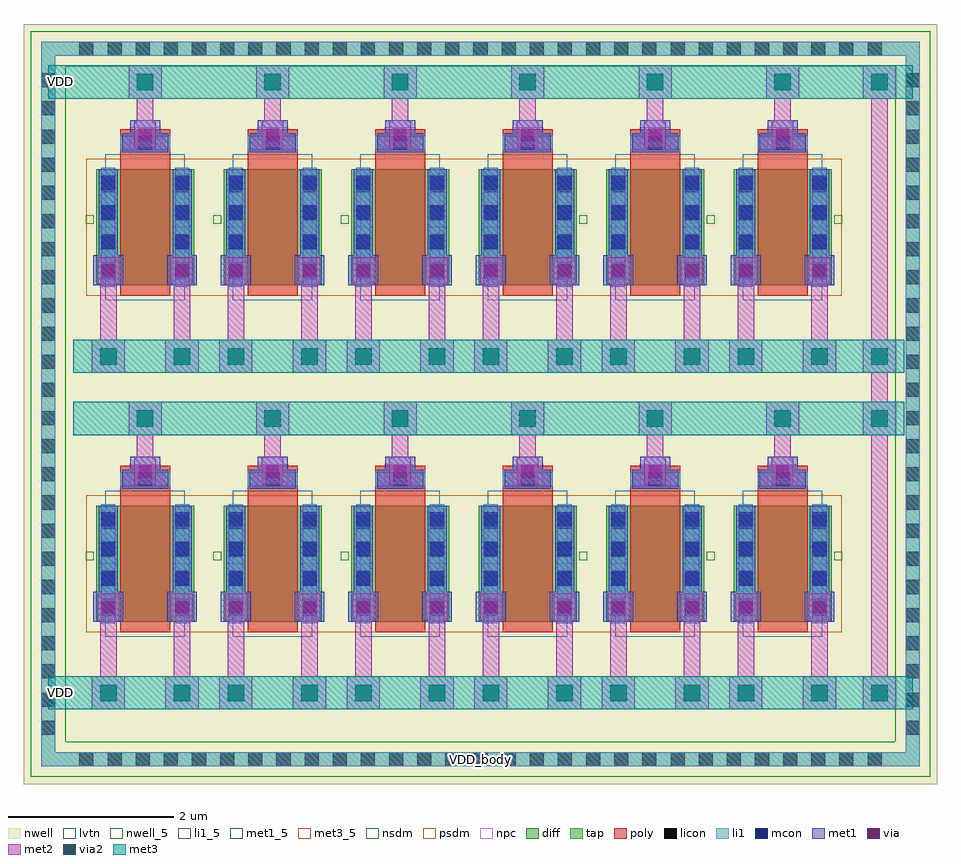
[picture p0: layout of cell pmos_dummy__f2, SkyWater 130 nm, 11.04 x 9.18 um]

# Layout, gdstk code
from math import pi, radians
import gdstk
lib = gdstk.Library(unit=1e-6, precision=1e-09)
def R(c, l, rs):  # rectangles x0, y0, x1, y1
    for r in rs: c.add(gdstk.rectangle(r[:2], r[2:], *l))
def A(c, l, x, y, w, h, nx, ny, dx, dy):  # array of equal rectangles
    R(c, l, [(x+i*dx, y+j*dy, x+i*dx+w, y+j*dy+h) for i in range(nx) for j in range(ny)])
nwell_5 = (64, 5)
nwell = (64, 20)
diff = (65, 20)
tap = (65, 44)
poly = (66, 20)
licon = (66, 44)
li1_5 = (67, 5)
li1 = (67, 20)
mcon = (67, 44)
met1_5 = (68, 5)
met1 = (68, 20)
via = (68, 44)
met2 = (69, 20)
via2 = (69, 44)
met3_5 = (70, 5)
met3 = (70, 20)
nsdm = (93, 44)
psdm = (94, 20)
npc = (95, 20)
lvtn = (125, 44)

sky130_fd_pr__pfet_01v8_ = lib.new_cell('sky130_fd_pr__pfet_01v8_lvt_L7GY3J')
R(sky130_fd_pr__pfet_01v8_, nwell, [(-0.77,-1.19,0.77,1.02)])
R(sky130_fd_pr__pfet_01v8_, diff, [(-0.59,-0.88,0.59,0.52)])
R(sky130_fd_pr__pfet_01v8_, poly, [(-0.3,-1.01,0.3,1.005)])
A(sky130_fd_pr__pfet_01v8_, licon, -0.53, -0.775, 0.17, 0.17, 1, 4, 0, 0.34)
A(sky130_fd_pr__pfet_01v8_, licon, 0.36, -0.775, 0.17, 0.17, 1, 4, 0, 0.34)
R(sky130_fd_pr__pfet_01v8_, licon, [(-0.085,0.755,0.085,0.925)])
R(sky130_fd_pr__pfet_01v8_, li1, [(-0.53,-0.9,-0.36,0.54), (0.36,-0.9,0.53,0.54), (-0.3,0.755,0.3,0.925)])
A(sky130_fd_pr__pfet_01v8_, mcon, -0.53, -0.805, 0.17, 0.17, 1, 4, 0, 0.36)
A(sky130_fd_pr__pfet_01v8_, mcon, 0.36, -0.805, 0.17, 0.17, 1, 4, 0, 0.36)
R(sky130_fd_pr__pfet_01v8_, mcon, [(-0.085,0.755,0.085,0.925)])
R(sky130_fd_pr__pfet_01v8_, met1, [(-0.56,-0.88,-0.33,0.52), (0.33,-0.88,0.56,0.52), (-0.28,0.725,0.28,0.955)])
R(sky130_fd_pr__pfet_01v8_, psdm, [(-0.715,-1.005,0.715,0.645)])
R(sky130_fd_pr__pfet_01v8_, npc, [(-0.185,0.655,0.185,1.025)])
R(sky130_fd_pr__pfet_01v8_, lvtn, [(-0.48,-1.06,0.48,0.7)])
sky130_fd_pr__pfet_01v8_.add(gdstk.Label('D', (-0.445,-0.18), layer=67, texttype=5))
sky130_fd_pr__pfet_01v8_.add(gdstk.Label('S', (0.445,-0.18), layer=67, texttype=5))
sky130_fd_pr__pfet_01v8_.add(gdstk.Label('G', (0,0.84), layer=67, texttype=5))

pfet_01v8_lvt_w1p4_l0p6_ = lib.new_cell('pfet_01v8_lvt_W1p4_L0p6_m8__nf1_gtop_sdfull_ng')
R(pfet_01v8_lvt_w1p4_l0p6_, nwell_5, [(0.05,1.055,0.15,1.155)])
R(pfet_01v8_lvt_w1p4_l0p6_, nwell, [(0.05,1.055,0.15,1.155)])
R(pfet_01v8_lvt_w1p4_l0p6_, met1_5, [(0.21,1.01,0.44,1.21), (1.1,1.01,1.33,1.21), (0.49,1.915,1.05,2.145)])
R(pfet_01v8_lvt_w1p4_l0p6_, met1, [(0.21,1.01,0.44,1.21), (1.1,1.01,1.33,1.21), (0.49,1.915,1.05,2.145)])
pfet_01v8_lvt_w1p4_l0p6_.add(gdstk.Reference(sky130_fd_pr__pfet_01v8_, (0.77,1.19)))
pfet_01v8_lvt_w1p4_l0p6_.add(gdstk.Label('D', (0.325,1.11), layer=68, texttype=5))
pfet_01v8_lvt_w1p4_l0p6_.add(gdstk.Label('S', (1.215,1.11), layer=68, texttype=5))
pfet_01v8_lvt_w1p4_l0p6_.add(gdstk.Label('G', (0.77,2.03), layer=68, texttype=5))
pfet_01v8_lvt_w1p4_l0p6_.add(gdstk.Label('B', (0.1,1.105), layer=64, texttype=5))

pmos_dummy__f2 = lib.new_cell('pmos_dummy__f2')
R(pmos_dummy__f2, nwell, [(-0.7,-1.65,10.34,7.53)])
R(pmos_dummy__f2, tap, [(-0.485,-1.435,10.125,-1.265), (-0.485,-1.265,-0.315,7.145), (9.955,-1.265,10.125,7.145), (-0.485,7.145,10.125,7.315)])
A(pmos_dummy__f2, licon, -0.025, -1.435, 0.17, 0.17, 29, 2, 0.34, 8.58)
A(pmos_dummy__f2, licon, -0.485, -1.055, 0.17, 0.17, 1, 24, 0, 0.34)
A(pmos_dummy__f2, licon, 9.955, -1.055, 0.17, 0.17, 1, 24, 0, 0.34)
R(pmos_dummy__f2, li1_5, [(4.77,-1.4,4.87,-1.3)])
R(pmos_dummy__f2, li1, [(-0.485,-1.435,10.125,-1.265), (-0.485,-1.265,-0.315,7.145), (9.955,-1.265,10.125,7.145), (-0.485,7.145,10.125,7.315)])
A(pmos_dummy__f2, met1, 0.59, 1.945, 0.36, 0.36, 6, 2, 1.54, 4.065)
R(pmos_dummy__f2, met1, [(0.145,0.31,0.505,0.67), (1.035,0.31,1.395,0.67), (1.685,0.31,2.045,0.67), (2.575,0.31,2.935,0.67), (3.225,0.31,3.585,0.67), (4.115,0.31,4.475,0.67), (4.765,0.31,5.125,0.67), (5.655,0.31,6.015,0.67), (6.305,0.31,6.665,0.67), (7.195,0.31,7.555,0.67), (7.845,0.31,8.205,0.67), (8.735,0.31,9.095,0.67), (0.145,4.375,0.505,4.735), (1.035,4.375,1.395,4.735), (1.685,4.375,2.045,4.735), (2.575,4.375,2.935,4.735), (3.225,4.375,3.585,4.735), (4.115,4.375,4.475,4.735), (4.765,4.375,5.125,4.735), (5.655,4.375,6.015,4.735), (6.305,4.375,6.665,4.735), (7.195,4.375,7.555,4.735), (7.845,4.375,8.205,4.735), (8.735,4.375,9.095,4.735)])
A(pmos_dummy__f2, via, 0.695, 2.05, 0.15, 0.15, 6, 2, 1.54, 4.065)
R(pmos_dummy__f2, via, [(0.25,0.415,0.4,0.565), (1.14,0.415,1.29,0.565), (1.79,0.415,1.94,0.565), (2.68,0.415,2.83,0.565), (3.33,0.415,3.48,0.565), (4.22,0.415,4.37,0.565), (4.87,0.415,5.02,0.565), (5.76,0.415,5.91,0.565), (6.41,0.415,6.56,0.565), (7.3,0.415,7.45,0.565), (7.95,0.415,8.1,0.565), (8.84,0.415,8.99,0.565), (0.25,4.48,0.4,4.63), (1.14,4.48,1.29,4.63), (1.79,4.48,1.94,4.63), (2.68,4.48,2.83,4.63), (3.33,4.48,3.48,4.63), (4.22,4.48,4.37,4.63), (4.87,4.48,5.02,4.63), (5.76,4.48,5.91,4.63), (6.41,4.48,6.56,4.63), (7.3,4.48,7.45,4.63), (7.95,4.48,8.1,4.63), (8.84,4.48,8.99,4.63)])
A(pmos_dummy__f2, met2, 0.64, 1.965, 0.26, 0.32, 6, 2, 1.54, 4.065)
A(pmos_dummy__f2, met2, 0.67, 2.285, 0.2, 0.28, 6, 2, 1.54, 4.065)
A(pmos_dummy__f2, met2, 0.57, 2.565, 0.4, 0.4, 6, 2, 1.54, 4.065)
R(pmos_dummy__f2, met2, [(0.125,-0.75,0.525,-0.35), (1.015,-0.75,1.415,-0.35), (1.665,-0.75,2.065,-0.35), (2.555,-0.75,2.955,-0.35), (3.205,-0.75,3.605,-0.35), (4.095,-0.75,4.495,-0.35), (4.745,-0.75,5.145,-0.35), (5.635,-0.75,6.035,-0.35), (6.285,-0.75,6.685,-0.35), (7.175,-0.75,7.575,-0.35), (7.825,-0.75,8.225,-0.35), (8.715,-0.75,9.115,-0.35), (9.44,-0.75,9.84,-0.35), (0.225,-0.35,0.425,0.33), (1.115,-0.35,1.315,0.33), (1.765,-0.35,1.965,0.33), (2.655,-0.35,2.855,0.33), (3.305,-0.35,3.505,0.33), (4.195,-0.35,4.395,0.33), (4.845,-0.35,5.045,0.33), (5.735,-0.35,5.935,0.33), (6.385,-0.35,6.585,0.33), (7.275,-0.35,7.475,0.33), (7.925,-0.35,8.125,0.33), (8.815,-0.35,9.015,0.33), (9.54,-0.35,9.74,2.565), (0.195,0.33,0.455,0.65), (1.085,0.33,1.345,0.65), (1.735,0.33,1.995,0.65), (2.625,0.33,2.885,0.65), (3.275,0.33,3.535,0.65), (4.165,0.33,4.425,0.65), (4.815,0.33,5.075,0.65), (5.705,0.33,5.965,0.65), (6.355,0.33,6.615,0.65), (7.245,0.33,7.505,0.65), (7.895,0.33,8.155,0.65), (8.785,0.33,9.045,0.65), (9.44,2.565,9.84,2.965), (9.54,2.965,9.74,3.315), (0.125,3.315,0.525,3.715), (1.015,3.315,1.415,3.715), (1.665,3.315,2.065,3.715), (2.555,3.315,2.955,3.715), (3.205,3.315,3.605,3.715), (4.095,3.315,4.495,3.715), (4.745,3.315,5.145,3.715), (5.635,3.315,6.035,3.715), (6.285,3.315,6.685,3.715), (7.175,3.315,7.575,3.715), (7.825,3.315,8.225,3.715), (8.715,3.315,9.115,3.715), (9.44,3.315,9.84,3.715), (0.225,3.715,0.425,4.395), (1.115,3.715,1.315,4.395), (1.765,3.715,1.965,4.395), (2.655,3.715,2.855,4.395), (3.305,3.715,3.505,4.395), (4.195,3.715,4.395,4.395), (4.845,3.715,5.045,4.395), (5.735,3.715,5.935,4.395), (6.385,3.715,6.585,4.395), (7.275,3.715,7.475,4.395), (7.925,3.715,8.125,4.395), (8.815,3.715,9.015,4.395), (9.54,3.715,9.74,6.63), (0.195,4.395,0.455,4.715), (1.085,4.395,1.345,4.715), (1.735,4.395,1.995,4.715), (2.625,4.395,2.885,4.715), (3.275,4.395,3.535,4.715), (4.165,4.395,4.425,4.715), (4.815,4.395,5.075,4.715), (5.705,4.395,5.965,4.715), (6.355,4.395,6.615,4.715), (7.245,4.395,7.505,4.715), (7.895,4.395,8.155,4.715), (8.785,4.395,9.045,4.715), (9.44,6.63,9.84,7.03)])
A(pmos_dummy__f2, via2, 0.67, 2.665, 0.2, 0.2, 6, 2, 1.54, 4.065)
R(pmos_dummy__f2, via2, [(0.225,-0.65,0.425,-0.45), (1.115,-0.65,1.315,-0.45), (1.765,-0.65,1.965,-0.45), (2.655,-0.65,2.855,-0.45), (3.305,-0.65,3.505,-0.45), (4.195,-0.65,4.395,-0.45), (4.845,-0.65,5.045,-0.45), (5.735,-0.65,5.935,-0.45), (6.385,-0.65,6.585,-0.45), (7.275,-0.65,7.475,-0.45), (7.925,-0.65,8.125,-0.45), (8.815,-0.65,9.015,-0.45), (9.54,-0.65,9.74,-0.45), (9.54,2.665,9.74,2.865), (0.225,3.415,0.425,3.615), (1.115,3.415,1.315,3.615), (1.765,3.415,1.965,3.615), (2.655,3.415,2.855,3.615), (3.305,3.415,3.505,3.615), (4.195,3.415,4.395,3.615), (4.845,3.415,5.045,3.615), (5.735,3.415,5.935,3.615), (6.385,3.415,6.585,3.615), (7.275,3.415,7.475,3.615), (7.925,3.415,8.125,3.615), (8.815,3.415,9.015,3.615), (9.54,3.415,9.74,3.615), (9.54,6.73,9.74,6.93)])
R(pmos_dummy__f2, met3_5, [(-0.3,-0.6,-0.2,-0.5), (-0.3,6.78,-0.2,6.88)])
R(pmos_dummy__f2, met3, [(-0.4,-0.75,10.04,-0.35), (-0.1,2.565,9.94,2.965), (-0.1,3.315,9.94,3.715), (-0.4,6.63,10.04,7.03)])
R(pmos_dummy__f2, nsdm, [(-0.61,-1.56,10.25,-1.14), (-0.61,-1.14,-0.19,7.02), (9.83,-1.14,10.25,7.02), (-0.61,7.02,10.25,7.44)])
A(pmos_dummy__f2, psdm, 1.485, 0.185, 0.11, 1.65, 5, 2, 1.54, 4.065)
pmos_dummy__f2.add(gdstk.Reference(pfet_01v8_lvt_w1p4_l0p6_, (9.24,4.065), rotation=pi, x_reflection=True))
pmos_dummy__f2.add(gdstk.Reference(pfet_01v8_lvt_w1p4_l0p6_, (7.7,4.065), rotation=pi, x_reflection=True))
pmos_dummy__f2.add(gdstk.Reference(pfet_01v8_lvt_w1p4_l0p6_, (6.16,4.065), rotation=pi, x_reflection=True))
pmos_dummy__f2.add(gdstk.Reference(pfet_01v8_lvt_w1p4_l0p6_, (3.08,4.065)))
pmos_dummy__f2.add(gdstk.Reference(pfet_01v8_lvt_w1p4_l0p6_, (1.54,4.065)))
pmos_dummy__f2.add(gdstk.Reference(pfet_01v8_lvt_w1p4_l0p6_, (0,4.065)))
pmos_dummy__f2.add(gdstk.Reference(pfet_01v8_lvt_w1p4_l0p6_, (9.24,0), rotation=pi, x_reflection=True))
pmos_dummy__f2.add(gdstk.Reference(pfet_01v8_lvt_w1p4_l0p6_, (7.7,0), rotation=pi, x_reflection=True))
pmos_dummy__f2.add(gdstk.Reference(pfet_01v8_lvt_w1p4_l0p6_, (6.16,0), rotation=pi, x_reflection=True))
pmos_dummy__f2.add(gdstk.Reference(pfet_01v8_lvt_w1p4_l0p6_, (3.08,0)))
pmos_dummy__f2.add(gdstk.Reference(pfet_01v8_lvt_w1p4_l0p6_, (1.54,0)))
pmos_dummy__f2.add(gdstk.Reference(pfet_01v8_lvt_w1p4_l0p6_, (0,0)))
pmos_dummy__f2.add(gdstk.Label('VDD', (-0.25,6.83), layer=70, texttype=5))
pmos_dummy__f2.add(gdstk.Label('VDD', (-0.25,-0.55), layer=70, texttype=5))
pmos_dummy__f2.add(gdstk.Label('VDD_body', (4.82,-1.35), layer=67, texttype=5))

lib.write_gds('pmos_dummy__f2.gds')
